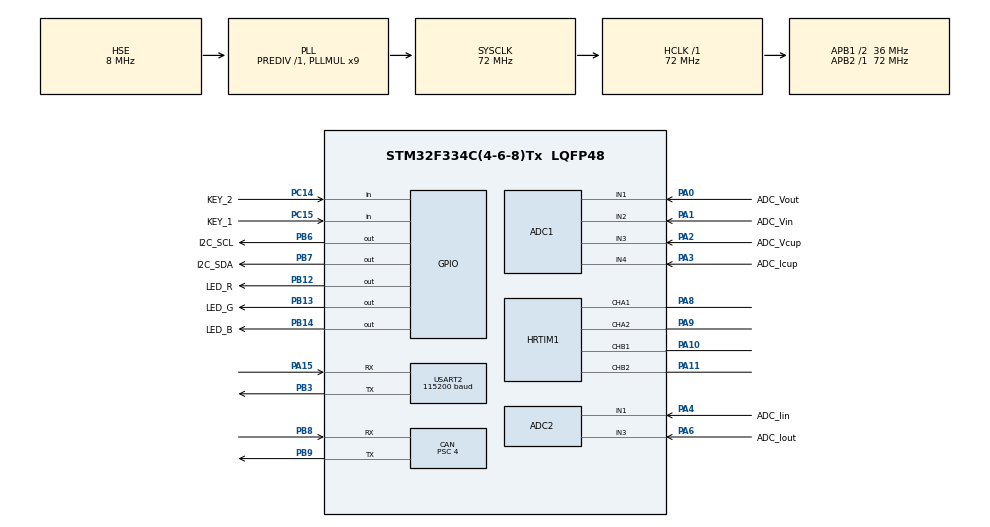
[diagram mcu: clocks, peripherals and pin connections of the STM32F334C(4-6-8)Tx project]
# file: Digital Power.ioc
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ADC1.Channel-0\#ChannelRegularConversion=ADC_CHANNEL_1
ADC1.Channel-1\#ChannelRegularConversion=ADC_CHANNEL_2
ADC1.Channel-2\#ChannelRegularConversion=ADC_CHANNEL_3
ADC1.Channel-3\#ChannelRegularConversion=ADC_CHANNEL_4
ADC1.ClockPrescaler=ADC_CLOCK_SYNC_PCLK_DIV4
ADC1.ContinuousConvMode=DISABLE
ADC1.DMAContinuousRequests=ENABLE
ADC1.EOCSelection=ADC_EOC_SEQ_CONV
ADC1.EnableInjectedConversion=DISABLE
ADC1.ExternalTrigConv=ADC_EXTERNALTRIGCONVHRTIM_TRG1
ADC1.NbrOfConversion=4
ADC1.NbrOfConversionFlag=1
ADC1.Offset-0\#ChannelRegularConversion=0
ADC1.Offset-1\#ChannelRegularConversion=0
ADC1.Offset-2\#ChannelRegularConversion=0
ADC1.Offset-3\#ChannelRegularConversion=0
ADC1.OffsetNumber-0\#ChannelRegularConversion=ADC_OFFSET_NONE
ADC1.OffsetNumber-1\#ChannelRegularConversion=ADC_OFFSET_NONE
ADC1.OffsetNumber-2\#ChannelRegularConversion=ADC_OFFSET_NONE
ADC1.OffsetNumber-3\#ChannelRegularConversion=ADC_OFFSET_NONE
ADC1.Rank-0\#ChannelRegularConversion=1
ADC1.Rank-1\#ChannelRegularConversion=2
ADC1.Rank-2\#ChannelRegularConversion=3
ADC1.Rank-3\#ChannelRegularConversion=4
ADC1.SamplingTime-0\#ChannelRegularConversion=ADC_SAMPLETIME_4CYCLES_5
ADC1.SamplingTime-1\#ChannelRegularConversion=ADC_SAMPLETIME_4CYCLES_5
ADC1.SamplingTime-2\#ChannelRegularConversion=ADC_SAMPLETIME_4CYCLES_5
ADC1.SamplingTime-3\#ChannelRegularConversion=ADC_SAMPLETIME_4CYCLES_5
ADC1.SubFamily=STM32F334x8
ADC1.master=1
ADC2.Channel-5\#ChannelRegularConversion=ADC_CHANNEL_1
ADC2.Channel-6\#ChannelRegularConversion=ADC_CHANNEL_3
ADC2.ClockPrescaler=ADC_CLOCK_SYNC_PCLK_DIV4
ADC2.ContinuousConvMode=DISABLE
ADC2.DMAContinuousRequests=ENABLE
ADC2.EOCSelection=ADC_EOC_SEQ_CONV
ADC2.EnableInjectedConversion=DISABLE
ADC2.EnableRegularConversion=ENABLE
ADC2.ExternalTrigConv=ADC_EXTERNALTRIGCONVHRTIM_TRG1
ADC2.NbrOfConversion=2
ADC2.NbrOfConversionFlag=1
ADC2.Offset-5\#ChannelRegularConversion=0
ADC2.Offset-6\#ChannelRegularConversion=0
ADC2.OffsetNumber-5\#ChannelRegularConversion=ADC_OFFSET_NONE
ADC2.OffsetNumber-6\#ChannelRegularConversion=ADC_OFFSET_NONE
ADC2.Rank-5\#ChannelRegularConversion=1
ADC2.Rank-6\#ChannelRegularConversion=2
ADC2.SamplingTime-5\#ChannelRegularConversion=ADC_SAMPLETIME_4CYCLES_5
ADC2.SamplingTime-6\#ChannelRegularConversion=ADC_SAMPLETIME_4CYCLES_5
ADC2.SubFamily=STM32F334x8
CAN.ABOM=ENABLE
CAN.BS1=CAN_BS1_4TQ
CAN.BS2=CAN_BS2_4TQ
CAN.CalculateBaudRate=1000000
CAN.CalculateTimeBit=1000
CAN.CalculateTimeQuantum=111.11111111111111
CAN.Mode=CAN_MODE_NORMAL
CAN.NART=ENABLE
CAN.Prescaler=4
CAN.RFLM=DISABLE
CAN.SJW=CAN_SJW_4TQ
CAN.TTCM=DISABLE
CAN.TXFP=ENABLE
Dma.ADC1.0.Direction=DMA_PERIPH_TO_MEMORY
Dma.ADC1.0.Instance=DMA1_Channel1
Dma.ADC1.0.MemDataAlignment=DMA_MDATAALIGN_HALFWORD
Dma.ADC1.0.MemInc=DMA_MINC_ENABLE
Dma.ADC1.0.Mode=DMA_CIRCULAR
Dma.ADC1.0.PeriphDataAlignment=DMA_PDATAALIGN_HALFWORD
Dma.ADC1.0.PeriphInc=DMA_PINC_DISABLE
Dma.ADC1.0.Priority=DMA_PRIORITY_HIGH
Dma.ADC2.1.Direction=DMA_PERIPH_TO_MEMORY
Dma.ADC2.1.Instance=DMA1_Channel2
Dma.ADC2.1.MemDataAlignment=DMA_MDATAALIGN_HALFWORD
Dma.ADC2.1.MemInc=DMA_MINC_ENABLE
Dma.ADC2.1.Mode=DMA_CIRCULAR
Dma.ADC2.1.PeriphDataAlignment=DMA_PDATAALIGN_HALFWORD
Dma.ADC2.1.PeriphInc=DMA_PINC_DISABLE
Dma.ADC2.1.Priority=DMA_PRIORITY_HIGH
Dma.Request0=ADC1
Dma.Request1=ADC2
HRTIM1.ADCTrigger1_Source1=HRTIM_ADCTRIGGEREVENT13_TIMERA_CMP3
HRTIM1.ADCTrigger_Id1=HRTIM_ADCTRIGGER_1
HRTIM1.ADCTrigger_Id2=__NULL
HRTIM1.BurstDMAconfig-Output_TA1TA2=__NULL
HRTIM1.CompareUnit1-Output_TA1TA2=HRTIM_COMPAREUNIT_1
HRTIM1.CompareUnit1-Output_TB1TB2=HRTIM_COMPAREUNIT_1
HRTIM1.CompareUnit2-Output_TA1TA2=__NULL
HRTIM1.CompareUnit3-Output_TA1TA2=HRTIM_COMPAREUNIT_3
HRTIM1.CompareUnit3-Output_TB1TB2=__NULL
HRTIM1.CompareValue1-Output_TA1TA2=24
HRTIM1.CompareValue1-Output_TB1TB2=24
HRTIM1.CompareValue3-Output_TA1TA2=24
HRTIM1.Configuration_TB=Waveform
HRTIM1.DACSynchro-Output_TA1TA2=HRTIM_DACSYNC_NONE
HRTIM1.DeadTimeInsertion-Output_TA1TA2=HRTIM_TIMDEADTIMEINSERTION_ENABLED
HRTIM1.DeadTimeInsertion-Output_TB1TB2=HRTIM_TIMDEADTIMEINSERTION_ENABLED
HRTIM1.FallingLock-Output_TA1TA2=HRTIM_TIMDEADTIME_FALLINGLOCK_READONLY
HRTIM1.FallingLock-Output_TB1TB2=HRTIM_TIMDEADTIME_FALLINGLOCK_READONLY
HRTIM1.FallingSignLock-Output_TA1TA2=HRTIM_TIMDEADTIME_FALLINGSIGNLOCK_READONLY
HRTIM1.FallingSignLock-Output_TB1TB2=HRTIM_TIMDEADTIME_FALLINGSIGNLOCK_READONLY
HRTIM1.FallingValue-Output_TA1TA2=180
HRTIM1.FallingValue-Output_TB1TB2=180
HRTIM1.FaultLock-Output_TA1TA2=HRTIM_TIMFAULTLOCK_READONLY
HRTIM1.InterruptRequests1-Output_TA1TA2=HRTIM_TIM_IT_REP
HRTIM1.NumberADCTriggerSource1=1
HRTIM1.NumberInterruptRequests-Output_TA1TA2=1
HRTIM1.NumberResetSource1-Output_TA1TA2=1
HRTIM1.NumberResetSource1-Output_TB1TB2=1
HRTIM1.NumberSetSource1-Output_TA1TA2=1
HRTIM1.NumberSetSource1-Output_TB1TB2=1
HRTIM1.Periode_TA=11520
HRTIM1.Periode_TB=11520
HRTIM1.Polarity2-Output_TA1TA2=HRTIM_OUTPUTPOLARITY_HIGH
HRTIM1.PreloadEnable-Output_TA1TA2=HRTIM_PRELOAD_ENABLED
HRTIM1.PrescalerDead-Output_TA1TA2=HRTIM_TIMDEADTIME_PRESCALERRATIO_MUL8
HRTIM1.PrescalerRatio_TA=HRTIM_PRESCALERRATIO_MUL8
HRTIM1.PrescalerRatio_TB=HRTIM_PRESCALERRATIO_MUL8
HRTIM1.RepetitionUpdate-Output_TA1TA2=HRTIM_UPDATEONREPETITION_ENABLED
HRTIM1.RepetitionUpdate-Output_TB1TB2=HRTIM_UPDATEONREPETITION_ENABLED
HRTIM1.ResetOutput1_Source1-Output_TA1TA2=HRTIM_OUTPUTRESET_TIMCMP1
HRTIM1.ResetOutput1_Source1-Output_TB1TB2=HRTIM_OUTPUTRESET_TIMPER
HRTIM1.RisingLock-Output_TA1TA2=HRTIM_TIMDEADTIME_RISINGLOCK_READONLY
HRTIM1.RisingLock-Output_TB1TB2=HRTIM_TIMDEADTIME_RISINGLOCK_READONLY
HRTIM1.RisingSignLock-Output_TA1TA2=HRTIM_TIMDEADTIME_RISINGSIGNLOCK_READONLY
HRTIM1.RisingSignLock-Output_TB1TB2=HRTIM_TIMDEADTIME_RISINGSIGNLOCK_READONLY
HRTIM1.RisingValue-Output_TA1TA2=180
HRTIM1.RisingValue-Output_TB1TB2=180
HRTIM1.SetOutput1_Source1-Output_TA1TA2=HRTIM_OUTPUTSET_TIMPER
HRTIM1.SetOutput1_Source1-Output_TB1TB2=HRTIM_OUTPUTSET_TIMCMP1
IWDG.Prescaler=IWDG_PRESCALER_32
IWDG.Reload=1000
IWDG.Window=4095
Mcu.Family=STM32F3
Mcu.Name=STM32F334C(4-6-8)Tx
Mcu.Package=LQFP48
NVIC.CAN_RX0_IRQn=true\:2\:0\:true\:false\:true\:true\:true\:true
NVIC.CAN_RX1_IRQn=true\:6\:0\:true\:false\:true\:true\:true\:true
NVIC.HRTIM1_TIMA_IRQn=true\:1\:0\:true\:false\:true\:true\:true\:true
NVIC.PriorityGroup=NVIC_PRIORITYGROUP_4
NVIC.TIM3_IRQn=true\:3\:0\:true\:false\:true\:true\:true\:true
PA0.GPIO_Label=ADC_Vout
PA0.Mode=IN1-Single-Ended
PA0.Signal=ADC1_IN1
PA1.GPIO_Label=ADC_Vin
PA1.Mode=IN2-Single-Ended
PA1.Signal=ADC1_IN2
PA10.Mode=Output_TB1TB2
PA10.Signal=HRTIM1_CHB1
PA11.Mode=Output_TB1TB2
PA11.Signal=HRTIM1_CHB2
PA12.GPIO_Label=BUZZER
PA12.Signal=S_TIM16_CH1
PA13.Mode=Serial_Wire
PA13.Signal=SYS_JTMS-SWDIO
PA14.Mode=Serial_Wire
PA14.Signal=SYS_JTCK-SWCLK
PA15.Mode=Asynchronous
PA15.Signal=USART2_RX
PA2.GPIO_Label=ADC_Vcup
PA2.Mode=IN3-Single-Ended
PA2.Signal=ADC1_IN3
PA3.GPIO_Label=ADC_Icup
PA3.Mode=IN4-Single-Ended
PA3.Signal=ADC1_IN4
PA4.GPIO_Label=ADC_Iin
PA4.Mode=IN1-Single-Ended
PA4.Signal=ADC2_IN1
PA6.GPIO_Label=ADC_Iout
PA6.Mode=IN3-Single-Ended
PA6.Signal=ADC2_IN3
PA8.GPIO_PuPd=GPIO_PULLUP
PA8.Mode=Output_TA1TA2
PA8.Signal=HRTIM1_CHA1
PA9.GPIO_PuPd=GPIO_PULLUP
PA9.Mode=Output_TA1TA2
PA9.Signal=HRTIM1_CHA2
PB12.GPIO_Label=LED_R
PB12.GPIO_Speed=GPIO_SPEED_FREQ_LOW
PB12.PinState=GPIO_PIN_SET
PB12.Signal=GPIO_Output
PB13.GPIO_Label=LED_G
PB13.GPIO_Speed=GPIO_SPEED_FREQ_LOW
PB13.Signal=GPIO_Output
PB14.GPIO_Label=LED_B
PB14.GPIO_Speed=GPIO_SPEED_FREQ_LOW
PB14.PinState=GPIO_PIN_RESET
PB14.Signal=GPIO_Output
PB3.Mode=Asynchronous
PB3.Signal=USART2_TX
PB6.GPIO_FM6=SYSCFG_CFGR1_I2C_PB6_FMP
PB6.GPIO_Label=I2C_SCL
PB6.GPIO_PuPd=GPIO_PULLUP
PB6.GPIO_Speed=GPIO_SPEED_FREQ_HIGH
PB6.PinState=GPIO_PIN_SET
PB6.Signal=GPIO_Output
PB7.GPIO_FM7=SYSCFG_CFGR1_I2C_PB7_FMP
PB7.GPIO_Label=I2C_SDA
PB7.GPIO_PuPd=GPIO_PULLUP
PB7.GPIO_Speed=GPIO_SPEED_FREQ_HIGH
PB7.PinState=GPIO_PIN_SET
PB7.Signal=GPIO_Output
PB8.Mode=CAN_Activate
PB8.Signal=CAN_RX
PB9.Mode=CAN_Activate
PB9.Signal=CAN_TX
PC14\ /\ OSC32_IN.GPIO_Label=KEY_2
PC14\ /\ OSC32_IN.Signal=GPIO_Input
PC15\ /\ OSC32_OUT.GPIO_Label=KEY_1
PC15\ /\ OSC32_OUT.Signal=GPIO_Input
PF0\ /\ OSC_IN.Mode=HSE-External-Clock-Source
PF0\ /\ OSC_IN.Signal=RCC_OSC_IN
ProjectManager.HeapSize=0x200
ProjectManager.StackSize=0x400
ProjectManager.TargetToolchain=MDK-ARM V5.27
RCC.AHBFreq_Value=72000000
RCC.APB1CLKDivider=RCC_HCLK_DIV2
RCC.APB1Freq_Value=36000000
RCC.APB1TimFreq_Value=72000000
RCC.APB2Freq_Value=72000000
RCC.APB2TimFreq_Value=72000000
RCC.CortexFreq_Value=72000000
RCC.HCLKFreq_Value=72000000
RCC.HRTIMSelection=RCC_HRTIM1CLK_PLLCLK
RCC.HSE_VALUE=8000000
RCC.HSI_VALUE=8000000
RCC.LSE_VALUE=32768
RCC.PLLMUL=RCC_PLL_MUL9
RCC.PLLSourceVirtual=RCC_PLLSOURCE_HSE
RCC.SYSCLKFreq_VALUE=72000000
RCC.SYSCLKSourceVirtual=RCC_SYSCLKSOURCE_PLLCLK
SH.S_TIM16_CH1.0=TIM16_CH1
TIM16.AutoReloadPreload=TIM_AUTORELOAD_PRELOAD_ENABLE
TIM16.Channel=TIM_CHANNEL_1
TIM16.Period=10
TIM16.Prescaler=2667
TIM16.Pulse=5
TIM3.Period=10000
TIM3.Prescaler=36
USART2.BaudRate=115200
USART2.VirtualMode-Asynchronous=VM_ASYNC
VP_IWDG_VS_IWDG.Mode=IWDG_Activate
VP_TIM16_VS_ClockSourceINT.Mode=Enable_Timer
VP_TIM16_VS_no_output1.Mode=PWM Generation1 No Output
VP_TIM3_VS_ClockSourceINT.Mode=Internal
VP_TIM3_VS_ClockSourceITR.Mode=TriggerSource_ITR0
board=custom

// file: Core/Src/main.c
/* USER CODE BEGIN Header */
/**
 ******************************************************************************
 * @file           : main.c
 * @brief          : Main program body
 ******************************************************************************
 * @attention
 *
 * Copyright (c) 2022 STMicroelectronics.
 * All rights reserved.
 *
 * This software is licensed under terms that can be found in the LICENSE file
 * in the root directory of this software component.
 * If no LICENSE file comes with this software, it is provided AS-IS.
 *
 ******************************************************************************
 */
/* USER CODE END Header */
#include "main.h"
#include "adc.h"
#include "can.h"
#include "dma.h"
#include "hrtim.h"
#include "iwdg.h"
#include "tim.h"
#include "usart.h"
#include "gpio.h"

/* USER CODE BEGIN Includes */
#include "POWER.h"
#include "sample.h"
#include "massage.h"
#include "cap.h"
/* USER CODE END Includes */

/* USER CODE BEGIN PV */
// 显示值
static float Vc, Vi, Vo, Ii, Io, Ic, Pc, Pi, Po, Ps, Wb, Pch, Pco, Emax, Enow,C;
// 菜单页
uint8_t menu_pages = 0;
bool menu_refresh;
/* USER CODE END PV */

void SystemClock_Config(void);

int main(void)
{

  /* MCU Configuration--------------------------------------------------------*/

  /* Reset of all peripherals, Initializes the Flash interface and the Systick. */
  HAL_Init();

  /* USER CODE BEGIN Init */
  Init_ADC_Data();
  Init_Power();
  Init_Power_Limit();
  /* USER CODE END Init */

  /* Configure the system clock */
  SystemClock_Config();

  /* Initialize all configured peripherals */
  MX_GPIO_Init();
  MX_DMA_Init();
  MX_ADC1_Init();
  MX_HRTIM1_Init();
  MX_ADC2_Init();
  MX_TIM3_Init();
  MX_CAN_Init();
  MX_USART2_UART_Init();
  MX_TIM16_Init();
  MX_IWDG_Init();
  /* USER CODE BEGIN 2 */
  BUZZER(1);
  OLED_Init();
  OLED_ShowString(1, 2, "Loading...");
  Init_ADC_Config();
  HAL_TIM_PWM_Start(&htim16, TIM_CHANNEL_1);
  Set_HRTIMA(0);
  Set_HRTIMB(0);
  HAL_HRTIM_WaveformCountStart(&hhrtim1, HRTIM_TIMERID_TIMER_A); // 开启PWM输出和PWM计时器
  HAL_HRTIM_WaveformCountStart(&hhrtim1, HRTIM_TIMERID_TIMER_B); // 开启PWM输出和PWM计时器
  HAL_HRTIM_WaveformOutputStop(&hhrtim1, HRTIM_OUTPUT_TA1 | HRTIM_OUTPUT_TA2 | HRTIM_OUTPUT_TB1 | HRTIM_OUTPUT_TB2);//启动时关闭

  CAN_Filter_Config();
  HAL_Delay(500);
  HAL_TIM_Base_Start_IT(&htim3);                                                     // 启动定时器3 200Hz
  __HAL_HRTIM_TIMER_ENABLE_IT(&hhrtim1, HRTIM_TIMERINDEX_TIMER_A, HRTIM_TIM_IT_REP); // 使能HRTIM
  BUZZER(0);
  /* USER CODE END 2 */

  /* Infinite loop */
  /* USER CODE BEGIN WHILE */
  while (1)
  {
    HAL_IWDG_Refresh(&hiwdg); // 喂狗
    Vc = Vcap.ave_value;
    Vi = Vin.ave_value;
    Vo = Vout.ave_value;
    Ii = Iin.ave_value;
    Io = Iout.ave_value;
    Ic = Icap.ave_value;
    Po = Power_limit.data.Pout;
    Pi = Power_limit.data.Pin;
    Ps = Power_limit.data.Pset;
    Wb = Power_limit.data.power_buffer;
    Pch = Power_limit.config_data.Icharge_max * Vout.ave_value;
    Pco = Power_limit.config_data.Icompensate_max * Vout.ave_value;
    //E=Q*U
    Emax = Cap_data.energy_data.cap_energy_max;
    Enow = Cap_data.energy_data.cap_energy_value;
    C=Cap_data.parameter_data.cap_value;
    /* USER CODE END WHILE */

    /* USER CODE BEGIN 3 */
    Can_ID_Delist(&can_id_list);
    Can_ID_Sort(&can_id_list);
    if (menu_refresh)
    {
      menu_refresh = false;
      OLED_Clear();
    }
    switch (menu_pages)
    {
    /* 电源环路数据显示 */
    case 0:
      OLED_ShowString(2, 1, "Vi:");
      OLED_ShowNum(2, 4, Floor(Vi), 2);
      OLED_ShowChar(2, 6, '.');
      OLED_ShowNum(2, 7, Mod1(Vi) / 10, 1);

      OLED_ShowString(2, 9, "Ii:");
      OLED_ShowChar(2, 12, Ii >= 0 ? ' ' : '-');
      OLED_ShowNum(2, 13, Floor(abs(Ii)), 1);
      OLED_ShowChar(2, 14, '.');
      OLED_ShowNum(2, 15, Mod1(abs(Ii)), 2);

      OLED_ShowString(3, 1, "Vo:");
      OLED_ShowNum(3, 4, Floor(Vo), 2);
      OLED_ShowChar(3, 6, '.');
      OLED_ShowNum(3, 7, Mod1(Vo) / 10, 1);

      OLED_ShowString(3, 9, "Io:");
      OLED_ShowChar(3, 12, Io >= 0 ? ' ' : '-');
      OLED_ShowNum(3, 13, Floor(abs(Io)), 1);
      OLED_ShowChar(3, 14, '.');
      OLED_ShowNum(3, 15, Mod1(abs(Io)), 2);

      OLED_ShowString(4, 1, "Vc:");
      OLED_ShowNum(4, 4, Floor(Vc), 2);
      OLED_ShowChar(4, 6, '.');
      OLED_ShowNum(4, 7, Mod1(Vc) / 10, 1);

      OLED_ShowString(4, 9, "Ic:");
      OLED_ShowChar(4, 12, Ic >= 0 ? ' ' : '-');
      OLED_ShowNum(4, 13, Floor(abs(Ic)), 1);
      OLED_ShowChar(4, 14, '.');
      OLED_ShowNum(4, 15, Mod1(abs(Ic)), 2);

      switch (Power.power_mode)
      {
      case Standby:
        OLED_ShowString(1, 1, "Standby   ");
        break;
      case Boost:
        OLED_ShowString(1, 1, "Boost     ");
        break;
      case Buck:
        OLED_ShowString(1, 1, "Buck      ");
        break;
      // case Buck_Boost:
      //   OLED_ShowString(1, 1, "BuckBoost ");
        break;
      }
      switch (Power.running_status)
      {
      case Wait:
        OLED_ShowString(1, 11, "Wait  ");
        break;
      case Run:
        OLED_ShowString(1, 11, "Run   ");
        break;
      case Start:
        OLED_ShowString(1, 11, "Start ");
        break;
      case Error:
        OLED_ShowString(1, 11, "Error ");
        break;
      case ModeSwitch:
        OLED_ShowString(1, 11, "Switch");
        break;
      }
      break;
    /* 功率环路数据显示 */
    case 1:
      OLED_ShowString(1, 1, "Power meter");
      OLED_ShowString(2, 1, "Pi:");
      OLED_ShowChar(2, 4, Pi >= 0 ? ' ' : '-');
      OLED_ShowNum(2, 5, Floor(abs(Pi)), 3);

      OLED_ShowString(2, 9, "Po:");
      OLED_ShowChar(2, 12, Po >= 0 ? ' ' : '-');
      OLED_ShowNum(2, 13, Floor(abs(Po)), 3);

      OLED_ShowString(3, 1, "Ps:");
      OLED_ShowChar(3, 4, Ps >= 0 ? ' ' : '-');
      OLED_ShowNum(3, 5, Floor(abs(Ps)), 3);

      OLED_ShowString(3, 9, "Wb: ");
      OLED_ShowNum(3, 13, Floor(abs(Wb)), 3);

      OLED_ShowString(4, 1, "Pch:");
      OLED_ShowNum(4, 5, Floor(abs(Pch)), 3);

      OLED_ShowString(4, 9, "Pco:");
      OLED_ShowNum(4, 13, Floor(abs(Pco)), 3);

      break;
    /* 状态显示 */
    case 2:
      OLED_ShowString(1, 1, "Status");

      OLED_ShowString(2, 1, "CE:");
      OLED_ShowChar(2, 4, Power.status.flag.CupEnable ? '1' : '0');
      OLED_ShowString(2, 6, "CU:");
      OLED_ShowChar(2, 9, Power.status.flag.CupUndervoltage ? '1' : '0');
      OLED_ShowString(2, 11, "PL:");
      OLED_ShowChar(2, 14, Power.status.flag.PowerCompensationLimit ? '1' : '0');

      OLED_ShowString(3, 1,  "Er:");
      OLED_ShowChar(3, 4, Power.status.flag.PowerLoopError ? '1' : '0');
      OLED_ShowString(3, 6,  "IO:");
      OLED_ShowChar(3, 9, Power.error_status.flag.LoopOvercurrent ? '1' : '0');
      OLED_ShowString(3, 11, "CO:");
      OLED_ShowChar(3, 14, Power.error_status.flag.CupOvervoltage ? '1' : '0');

      OLED_ShowString(4, 1,  "LC:");
      OLED_ShowChar(4, 4, Power.status.flag.CanLossOfConnection ? '1' : '0');
      OLED_ShowString(4, 6,  "LM:");
      OLED_ShowNum(4, 9, Power_limit.status.flag.power_limit_mode,1);
      OLED_ShowString(4, 11, "LB:");
      OLED_ShowChar(4, 14, Power.error_status.flag.InsufficientPowerBuffer ? '1' : '0');
      break;
    /* 电容状态显示 */
    case 3:
      OLED_ShowString(1, 1, "Cap Data");
      OLED_ShowString(2, 1, "Emax:");
      OLED_ShowNum(2, 6, Floor(Emax), 4);
      OLED_ShowString(4,10,"C:");
      OLED_ShowNum(4, 12, Floor(C), 2);
      OLED_ShowChar(4, 14, '.');
      OLED_ShowNum(4, 15, Mod1(C)/10, 2);

      OLED_ShowString(3, 1, "Enow:");
      OLED_ShowNum(3, 6, Floor(Enow), 4);
      OLED_ShowString(4, 1, "Per:");
      OLED_ShowNum(4, 5, Floor(Enow / Emax * 100), 3);
      OLED_ShowChar(4, 8, '%');
      break;
    /* 在线CAN ID显示 */
    case 4:
      OLED_ShowString(1, 1, "CAN ID List1");
      for (uint8_t i = 0; i < 12; i++)
      {
        if (Get_CAN_ID_List_Elem_ID(&can_id_list, i) != 0 && i < Get_CAN_ID_Num(&can_id_list))
        {
          OLED_ShowHexNum((i / 4) % 3 + 2, (i % 4) * 4 + 1, Get_CAN_ID_List_Elem_ID(&can_id_list, i), 3);
        }
        else
        {
          OLED_ShowString((i / 4) % 3 + 2, (i % 4) * 4 + 1, "   ");
        }
      }
      break;
    case 5:
      // 若can ID数大于12进入can ID第二页 否则进入下一页
      if (Get_CAN_ID_Num(&can_id_list) >= 12)
      {
        OLED_ShowString(1, 1, "CAN ID List2");
        for (uint8_t i = 12; i < 24; i++)
        {
          if (Get_CAN_ID_List_Elem_ID(&can_id_list, i) != 0 && i < Get_CAN_ID_Num(&can_id_list))
          {
            OLED_ShowHexNum((i / 4) % 3 + 2, (i % 4) * 4 + 1, Get_CAN_ID_List_Elem_ID(&can_id_list, i), 3);
          }
          else
          {
            OLED_ShowString((i / 4) % 3 + 2, (i % 4) * 4 + 1, "   ");
          }
        }
        break;
      }
      menu_pages++;
      OLED_Clear();
    case 6:
      // 若can ID数大于24进入can ID第二页 否则进入下一页
      if (Get_CAN_ID_Num(&can_id_list) >= 24)
      {
        OLED_ShowString(1, 1, "CAN ID List2");
        for (uint8_t i = 24; i < 32; i++)
        {
          if (Get_CAN_ID_List_Elem_ID(&can_id_list, i) != 0 && i < Get_CAN_ID_Num(&can_id_list))
          {
            OLED_ShowHexNum((i / 4) % 3 + 2, (i % 4) * 4 + 1, Get_CAN_ID_List_Elem_ID(&can_id_list, i), 3);
          }
          else
          {
            OLED_ShowString((i / 4) % 3 + 2, (i % 4) * 4 + 1, "   ");
          }
        }
        if(Get_CAN_ID_Num(&can_id_list)>32)
        {
          OLED_ShowString(4,1, "Too mamy no show");
        }
        break;
      }
      menu_pages++;
      OLED_Clear();
    default:
      menu_pages = 0;
      break;
    }
  }
  /* USER CODE END 3 */
}

void SystemClock_Config(void)
{
  RCC_OscInitTypeDef RCC_OscInitStruct = {0};
  RCC_ClkInitTypeDef RCC_ClkInitStruct = {0};
  RCC_PeriphCLKInitTypeDef PeriphClkInit = {0};

  /** Initializes the RCC Oscillators according to the specified parameters
  * in the RCC_OscInitTypeDef structure.
  */
  RCC_OscInitStruct.OscillatorType = RCC_OSCILLATORTYPE_LSI|RCC_OSCILLATORTYPE_HSE;
  RCC_OscInitStruct.HSEState = RCC_HSE_BYPASS;
  RCC_OscInitStruct.HSEPredivValue = RCC_HSE_PREDIV_DIV1;
  RCC_OscInitStruct.HSIState = RCC_HSI_ON;
  RCC_OscInitStruct.LSIState = RCC_LSI_ON;
  RCC_OscInitStruct.PLL.PLLState = RCC_PLL_ON;
  RCC_OscInitStruct.PLL.PLLSource = RCC_PLLSOURCE_HSE;
  RCC_OscInitStruct.PLL.PLLMUL = RCC_PLL_MUL9;
  if (HAL_RCC_OscConfig(&RCC_OscInitStruct) != HAL_OK)
  {
    Error_Handler();
  }

  /** Initializes the CPU, AHB and APB buses clocks
  */
  RCC_ClkInitStruct.ClockType = RCC_CLOCKTYPE_HCLK|RCC_CLOCKTYPE_SYSCLK
                              |RCC_CLOCKTYPE_PCLK1|RCC_CLOCKTYPE_PCLK2;
  RCC_ClkInitStruct.SYSCLKSource = RCC_SYSCLKSOURCE_PLLCLK;
  RCC_ClkInitStruct.AHBCLKDivider = RCC_SYSCLK_DIV1;
  RCC_ClkInitStruct.APB1CLKDivider = RCC_HCLK_DIV2;
  RCC_ClkInitStruct.APB2CLKDivider = RCC_HCLK_DIV1;

  if (HAL_RCC_ClockConfig(&RCC_ClkInitStruct, FLASH_LATENCY_2) != HAL_OK)
  {
    Error_Handler();
  }
  PeriphClkInit.PeriphClockSelection = RCC_PERIPHCLK_HRTIM1;
  PeriphClkInit.Hrtim1ClockSelection = RCC_HRTIM1CLK_PLLCLK;
  if (HAL_RCCEx_PeriphCLKConfig(&PeriphClkInit) != HAL_OK)
  {
    Error_Handler();
  }
}

void Error_Handler(void)
{
  /* USER CODE BEGIN Error_Handler_Debug */
  /* User can add his own implementation to report the HAL error return state */
  __disable_irq();
  __NVIC_SystemReset();

  while (1)
  {
  }
  /* USER CODE END Error_Handler_Debug */
}

#ifdef  USE_FULL_ASSERT
/**
  * @brief  Reports the name of the source file and the source line number
  *         where the assert_param error has occurred.
  * @param  file: pointer to the source file name
  * @param  line: assert_param error line source number
  * @retval None
  */
void assert_failed(uint8_t *file, uint32_t line)
{
  /* USER CODE BEGIN 6 */
  // 关闭总中断
  __disable_irq();
  // 关闭控制器输出
  HAL_HRTIM_WaveformOutputStop(&hhrtim1, HRTIM_OUTPUT_TA1 | HRTIM_OUTPUT_TA2 | HRTIM_OUTPUT_TB1 | HRTIM_OUTPUT_TB2);
  // 输出错误信息
  OLED_ShowString(1, 1, "Error:AssertFail");
  OLED_ShowString(2, 1, "F:");
  OLED_ShowString(2, 3, file);
  OLED_ShowString(3, 1, "L:");
  OLED_ShowNum(3, 3, line, 6);
  // 打开蜂鸣器
  BUZZER(1);
  // 死循环
  while (1)
  {
    HAL_IWDG_Refresh(&hiwdg); // 喂狗
    BUZZER(1);
    HAL_Delay(200);
    BUZZER(0);
    HAL_Delay(200);
  }
  /* User can add his own implementation to report the file name and line number,
     ex: printf("Wrong parameters value: file %s on line %d\r\n", file, line) */
  /* USER CODE END 6 */
}
#endif /* USE_FULL_ASSERT */
